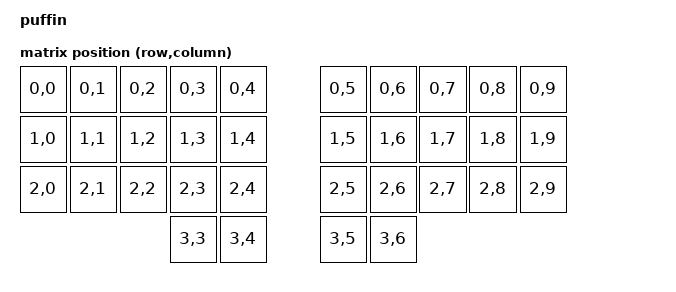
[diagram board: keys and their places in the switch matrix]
/*
 * Copyright (c) 2020 The ZMK Contributors
 *
 * SPDX-License-Identifier: MIT
 */

/dts-v1/;
#include <nordic/nrf52840_qiaa.dtsi> 
#include <dt-bindings/zmk/matrix_transform.h>
#include <dt-bindings/led/led.h>

/ {
    model = "puffin";
    compatible = "puffin";

	chosen {
		zephyr,code-partition = &code_partition;
		zephyr,sram = &sram0;
		zephyr,flash = &flash0;
		zmk,kscan = &kscan;
		zmk,matrix_transform = &default_transform;
		//zmk,battery = &vbatt;
		zephyr,console = &cdc_acm_uart0;
	};

	default_transform: transform_0 {
		compatible = "zmk,matrix-transform";
		rows = <4>;
		columns = <10>;

		map = <
	RC(0,0) RC(0,1) RC(0,2) RC(0,3) RC(0,4) RC(0,5) RC(0,6) RC(0,7) RC(0,8) RC(0,9)
	RC(1,0) RC(1,1) RC(1,2) RC(1,3) RC(1,4) RC(1,5) RC(1,6) RC(1,7) RC(1,8) RC(1,9)
	RC(2,0) RC(2,1) RC(2,2) RC(2,3) RC(2,4) RC(2,5) RC(2,6) RC(2,7) RC(2,8) RC(2,9)
							RC(3,3) RC(3,4) RC(3,5) RC(3,6)
	>;
	};	

};

&adc {
	status = "okay";
};

&gpiote {
	status = "okay";
};

&gpio0 {
	status = "okay";
};

&gpio1 {
	status = "okay";
};


&usbd {
	status = "okay";
	cdc_acm_uart0: cdc_acm_uart0 {
		compatible = "zephyr,cdc-acm-uart";
		label = "CDC_ACM_0";
	};
}; 


&flash0 {
	/*
	 * For more information, see:
	 * http://docs.zephyrproject.org/latest/devices/dts/flash_partitions.html
	 */
	partitions {
		compatible = "fixed-partitions";
		#address-cells = <1>;
		#size-cells = <1>;

		sd_partition: partition@0 {
			label = "mbr";
			reg = <0x00000000 0x00001000>;
		};
		code_partition: partition@1000 {
			label = "code_partition";
			reg = <0x00001000 0x000d3000>;
		};

		storage_partition: partition@d4000 {
			label = "storage";
			reg = <0x000d4000 0x00020000>;
		};

		boot_partition: partition@f4000 {
			label = "adafruit_boot";
			reg = <0x000f4000 0x0000c000>;
		};
	};
};

&pinctrl {
    spi1_default_alt: spi1_default_alt {
        group1 {
            psels = <NRF_PSEL(SPI_SCK, 0, 19)>,
                    <NRF_PSEL(SPI_MISO, 0, 21)>,
                    <NRF_PSEL(SPI_MOSI, 0, 23)>;
        };
    };

    spi1_sleep_alt: spi1_sleep_alt {
        group1 {
            psels = <NRF_PSEL(SPI_SCK, 0, 19)>,
                    <NRF_PSEL(SPI_MISO, 0, 21)>,
                    <NRF_PSEL(SPI_MOSI, 0, 23)>;
            low-power-enable;
      };
    };
};

&spi1 {
    compatible = "nordic,nrf-spim";
    status = "okay";
    pinctrl-0 = <&spi1_default_alt>;
    pinctrl-1 = <&spi1_sleep_alt>;
    pinctrl-names = "default", "sleep";
    cs-gpios = <&gpio0 13 GPIO_ACTIVE_LOW>;

    pmw3360@0 {
            compatible = "pixart,pmw3360";
            reg = <0>;
            irq-gpios = <&gpio0 20 (GPIO_ACTIVE_LOW | GPIO_PULL_UP)>;
            spi-max-frequency = <2000000>;
    };
};

//&pinctrl {
//    spi0_default: spi0_default {
//        group1 {
//            psels = <NRF_PSEL(SPIM_SCK, 0, 19)>,
//                <NRF_PSEL(SPIM_MOSI, 0, 23)>,
//                <NRF_PSEL(SPIM_MISO, 0, 21)>;
//        };
//    };
//
//    spi0_sleep: spi0_sleep {
//        group1 {
//            psels = <NRF_PSEL(SPIM_SCK, 0, 19)>,
//                <NRF_PSEL(SPIM_MOSI, 0, 23)>,
//                <NRF_PSEL(SPIM_MISO, 0, 21)>;
//            low-power-enable;
//        };
//    };
//};
